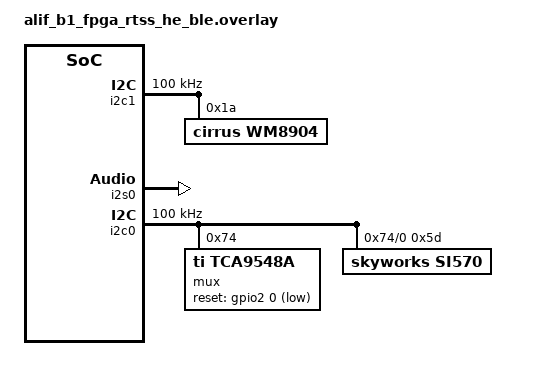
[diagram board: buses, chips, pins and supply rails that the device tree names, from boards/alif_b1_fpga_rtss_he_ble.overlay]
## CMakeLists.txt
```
# Copyright (C) 2023 Alif Semiconductor - All Rights Reserved.
# Use, distribution and modification of this code is permitted under the
# terms stated in the Alif Semiconductor Software License Agreement
#
# You should have received a copy of the Alif Semiconductor Software
# License Agreement with this file. If not, please write to:
# contact@alifsemi.com, or visit: https://alifsemi.com/license

cmake_minimum_required(VERSION 3.20.0)
find_package(Zephyr REQUIRED HINTS $ENV{ZEPHYR_BASE})
project(i2s_sync)

target_sources(app PRIVATE
    src/main.c
)
```

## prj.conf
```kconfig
# Copyright (C) 2023 Alif Semiconductor - All Rights Reserved.
# Use, distribution and modification of this code is permitted under the
# terms stated in the Alif Semiconductor Software License Agreement
#
# You should have received a copy of the Alif Semiconductor Software
# License Agreement with this file. If not, please write to:
# contact@alifsemi.com, or visit: https://alifsemi.com/license

CONFIG_USE_SEGGER_RTT=y
CONFIG_RTT_CONSOLE=y

CONFIG_LOG=y
CONFIG_ASSERT=y

CONFIG_I2C=y

CONFIG_WM8904=y
CONFIG_WM8904_LOG_LEVEL_DBG=y

CONFIG_SI570=y
CONFIG_SI570_LOG_LEVEL_DBG=y

CONFIG_I2C_INIT_PRIORITY=50
CONFIG_I2C_TCA954X_ROOT_INIT_PRIO=51
CONFIG_I2C_TCA954X_CHANNEL_INIT_PRIO=52
CONFIG_WM8904_INIT_PRIORITY=53

CONFIG_I2S=y
CONFIG_I2S_SYNC_LOG_LEVEL_DBG=y
CONFIG_I2S_SYNC_BUFFER_FORMAT_SEQUENTIAL=y
```

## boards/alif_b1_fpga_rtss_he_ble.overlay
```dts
/* Copyright (C) 2023 Alif Semiconductor - All Rights Reserved.
 * Use, distribution and modification of this code is permitted under the
 * terms stated in the Alif Semiconductor Software License Agreement
 *
 * You should have received a copy of the Alif Semiconductor Software
 * License Agreement with this file. If not, please write to:
 * contact@alifsemi.com, or visit: https://alifsemi.com/license
 *
 */

#include <dt-bindings/pinctrl/balletto-pinctrl.h>
#include <dt-bindings/i2c/i2c.h>
#include <dt-bindings/gpio/gpio.h>

/ {
	aliases {
		audio-codec = &wm8904;
		i2s-bus = &i2s0;
	};

	soc {
		i2c1: i2c0@49011000 {
			compatible = "snps,designware-i2c";
			clock-frequency = <I2C_BITRATE_STANDARD>;
			#address-cells = <1>;
			#size-cells = <0>;
			reg = <0x49011000 0x1000>;
			pinctrl-0 = < &pinctrl_i2c1 >;
			pinctrl-names = "default";
			interrupt-parent = <&nvic>;
			interrupts = <133 3>;
			status = "okay";

			wm8904: wm8904@1a {
				compatible = "cirrus,wm8904";
				reg = <0x1a>;
				status = "okay";
			};
		};

		i2s0: i2s0@49014000 {
			compatible = "alif,i2s-sync";
			reg = <0x49014000 0x1000>;
			pinctrl-names = "default";
			pinctrl-0 = <&pinctrl_i2s0>;
			interrupts = <141 3>;
			bit-depth = <16>;
			sample-rate = <48000>;
			mono-mode;
			status = "okay";
		};

		i2c0: i2c0@49010000 {
			compatible = "snps,designware-i2c";
			clock-frequency = <I2C_BITRATE_STANDARD>;
			#address-cells = <1>;
			#size-cells = <0>;
			reg = <0x49010000 0x1000>;
			pinctrl-0 = < &pinctrl_i2c0 >;
			pinctrl-names = "default";
			interrupt-parent = <&nvic>;
			interrupts = <132 3>;
			status = "okay";

			mux: tca9548a@74 {
				compatible = "ti,tca9548a";
				reg = <0x74>;
				status = "okay";
				#address-cells = <1>;
				#size-cells = <0>;
				reset-gpios = <&gpio2 0 GPIO_ACTIVE_LOW>;

				ch0: mux_i2c@0 {
					compatible = "ti,tca9548a-channel";
					reg = <0>;
					status = "okay";
					#address-cells = <1>;
					#size-cells = <0>;

					si570: si570@5d {
						compatible = "skyworks,si570";
						reg = <0x5d>;
						factory-fout = <156250000>;
						initial-freq = <12288000>;
					};
				};
			};
		};
	};
};

&pinctrl {
	pinctrl_i2c1: pinctrl_i2c1 {
		group0 {
			/* Note: defined pinmux names are wrong so just setting numbers directly */
			pinmux = < PINMUX_PIN(PIN_P2_6, 3) >, /* I2C1 SCL */
				< PINMUX_PIN(PIN_P2_7, 3) >; /* I2C1 SDA */
			read_enable = < 0x1 >;
		};
	};

	pinctrl_i2s0:pinctrl_i2s0 {
		group0 {
			/* Note: defined pinmux names are wrong so just setting numbers directly */
			pinmux = < PINMUX_PIN(PIN_P1_4, 2) >, /* I2S0 SDI A  */
				< PINMUX_PIN(PIN_P1_5, 2) >, /* I2S0 SDO A  */
				< PINMUX_PIN(PIN_P1_7, 3) >, /* I2S0 WS A   */
				< PINMUX_PIN(PIN_P1_6, 3) >; /* I2S0 SCLK A */
		};
	};

	pinctrl_i2c0: pinctrl_i2c0 {
		group0 {
			pinmux = < PIN_P2_4__I2C0_SCL_B >,
				< PIN_P2_5__I2C0_SDA_B >;
			read_enable = < 0x1 >;
		};
	};
};
```

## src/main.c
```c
/* Copyright (C) 2023 Alif Semiconductor - All Rights Reserved.
 * Use, distribution and modification of this code is permitted under the
 * terms stated in the Alif Semiconductor Software License Agreement
 *
 * You should have received a copy of the Alif Semiconductor Software
 * License Agreement with this file. If not, please write to:
 * contact@alifsemi.com, or visit: https://alifsemi.com/license
 */

#include <zephyr/kernel.h>
#include <zephyr/logging/log.h>
#include <zephyr/sys/__assert.h>
#include <zephyr/device.h>
#include <drivers/i2s_sync.h>

LOG_MODULE_REGISTER(main);

/* At 48 kHz, stereo, 16-bit, this gives 960 / 2 / 2 = 240 samples per channel per block, which is 5
 * ms of audio
 */
#define I2S_BLOCK_SIZE_BYTES 960
#define I2S_BLOCK_COUNT      4

#define CODEC_NODE DT_ALIAS(audio_codec)
static const struct device *codec_dev = DEVICE_DT_GET(CODEC_NODE);

#define I2S_NODE DT_ALIAS(i2s_bus)
static const struct device *i2s_dev = DEVICE_DT_GET(I2S_NODE);

static volatile uint32_t tx_ctr;
static volatile uint32_t rx_ctr;
static volatile uint32_t err_ctr;
static void *rx_block;
static void *tx_block;
static struct k_mem_slab i2s_mem;
static uint8_t __aligned(4) i2s_mem_buffer[I2S_BLOCK_SIZE_BYTES * I2S_BLOCK_COUNT];

K_MSGQ_DEFINE(i2s_msgq, sizeof(void *), I2S_BLOCK_COUNT, 1);

static void finish_rx(void)
{
	if (rx_block == NULL) {
		LOG_ERR("No RX block to finish");
		return;
	}

	/* Push completed RX block to queue so it can be sent back out */
	int ret = k_msgq_put(&i2s_msgq, &rx_block, K_NO_WAIT);

	if (ret) {
		LOG_ERR("MSGQ put failed, err %d", ret);
	}
}

static void recv_next_block(const struct device *dev)
{
	int ret = k_mem_slab_alloc(&i2s_mem, &rx_block, K_NO_WAIT);

	if (ret) {
		LOG_ERR("Could not allocate RX block");
		return;
	}

	i2s_sync_recv(dev, rx_block, I2S_BLOCK_SIZE_BYTES);
}

static void finish_tx(void)
{
	if (tx_block == NULL) {
		LOG_ERR("No TX block to finish");
		return;
	}

	/* Free the completed TX block so it is available for RX */
	k_mem_slab_free(&i2s_mem, tx_block);
}

static void send_next_block(const struct device *dev)
{
	int ret = k_msgq_get(&i2s_msgq, &tx_block, K_NO_WAIT);

	if (ret) {
		LOG_ERR("MSGQ get failed, err %d", ret);
		return;
	}

	i2s_sync_send(dev, tx_block, I2S_BLOCK_SIZE_BYTES);
}

static void on_i2s_rx_complete(const struct device *dev, enum i2s_sync_status status)
{
	finish_rx();
	recv_next_block(dev);
	rx_ctr++;

	if (status != I2S_SYNC_STATUS_OK) {
		err_ctr++;
	}
}

static void on_i2s_tx_complete(const struct device *dev, enum i2s_sync_status status)
{
	finish_tx();
	send_next_block(dev);
	tx_ctr++;

	if (status != I2S_SYNC_STATUS_OK) {
		err_ctr++;
	}
}

int main(void)
{
	LOG_INF("I2S sync demo starting");

	if (!device_is_ready(codec_dev)) {
		LOG_ERR("WM8904 codec is not ready");
		return -1;
	}

	if (!device_is_ready(i2s_dev)) {
		LOG_ERR("I2S driver is not ready");
		return -1;
	}

	i2s_sync_register_cb(i2s_dev, I2S_DIR_RX, on_i2s_rx_complete);
	i2s_sync_register_cb(i2s_dev, I2S_DIR_TX, on_i2s_tx_complete);

	while (1) {
		/* Clear msgq and reset mem slab ready to start */
		k_msgq_purge(&i2s_msgq);
		k_mem_slab_init(&i2s_mem, i2s_mem_buffer, I2S_BLOCK_SIZE_BYTES, I2S_BLOCK_COUNT);

		/* Start receiving data on I2S interface */
		recv_next_block(i2s_dev);

		/* Wait for first received block to be posted to MSGQ before starting TX */
		int ret = k_msgq_get(&i2s_msgq, &tx_block, K_FOREVER);

		__ASSERT(ret == 0, "Failed to get block from MSGQ");

		/* Add a delay of approximately half a block before starting TX to ensure that there
		 * is always enough data to TX in the queue.
		 */
		k_msleep(2);

		i2s_sync_send(i2s_dev, tx_block, I2S_BLOCK_SIZE_BYTES);

		for (int i = 0; i < 6; i++) {
			k_sleep(K_SECONDS(5));
			LOG_INF("Blocks received %u, sent %u, errors %u", rx_ctr, tx_ctr, err_ctr);
		}

		/* Every 30 seconds, stop I2S for 5 seconds to demonstrate disable API */
		i2s_sync_disable(i2s_dev, I2S_DIR_BOTH);
		LOG_INF("Stopping I2S for 5 seconds");
		k_sleep(K_SECONDS(5));
	}
}
```
